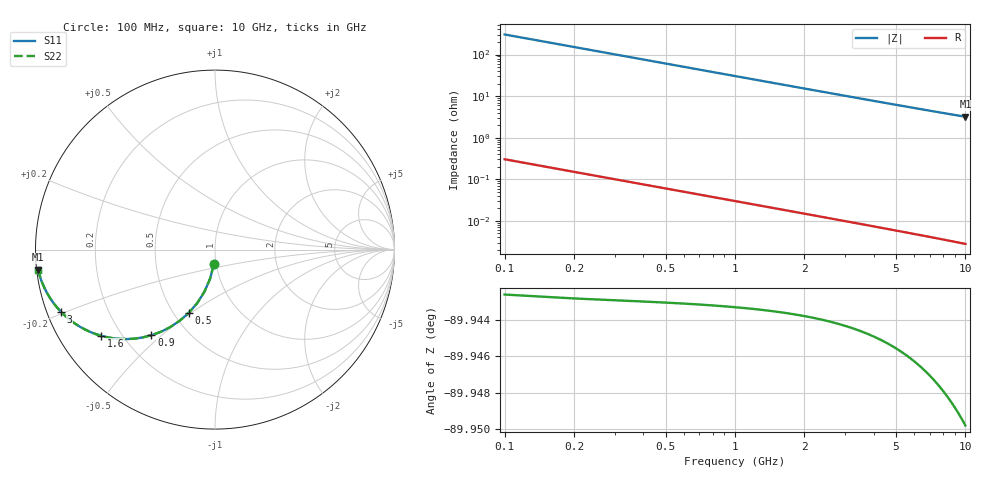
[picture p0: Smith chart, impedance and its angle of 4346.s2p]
# Hz S RI R 50.00
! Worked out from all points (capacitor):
!   100 points, 100 MHz to 10 GHz, reference 50 ohm
!   read as one part in shunt: C = 5.24 pF near 100 MHz
!   lowest |Z| = 3.2 ohm at 10 GHz (marker M1)
!   S11 on the Smith chart (normalised r, x): 100 MHz: 0.97, -0.16; 500 MHz: 0.60, -0.49; 900 MHz: 0.31, -0.46; 1.6 GHz: 0.13, -0.33; 3 GHz: 0.04, -0.19; 10 GHz: 0.00, -0.06
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1e8  -0.00681 -0.0818  0.9932 -0.0819  0.9932 -0.0819  -0.00681 -0.0818
2e8  -0.0266 -0.1602  0.9734 -0.1605  0.9734 -0.1605  -0.0266 -0.1602
3e8  -0.0578 -0.2326  0.9422 -0.233  0.9422 -0.233  -0.0578 -0.2326
4e8  -0.0981 -0.2968  0.9018 -0.2973  0.9018 -0.2973  -0.0981 -0.2968
5e8  -0.1452 -0.3515  0.8548 -0.3522  0.8548 -0.3522  -0.1452 -0.3515
6e8  -0.1964 -0.3964  0.8035 -0.3972  0.8035 -0.3972  -0.1964 -0.3964
7e8  -0.2495 -0.4318  0.7504 -0.4327  0.7504 -0.4327  -0.2495 -0.4318
9e8  -0.3544 -0.4773  0.6455 -0.4784  0.6455 -0.4784  -0.3544 -0.4773
1.2e9  -0.4935 -0.4987  0.5064 -0.5003  0.5064 -0.5003  -0.4935 -0.4987
1.4e9  -0.5699 -0.4937  0.4301 -0.4955  0.4301 -0.4955  -0.5699 -0.4937
1.6e9  -0.6336 -0.4803  0.3664 -0.4824  0.3664 -0.4824  -0.6336 -0.4803
1.8e9  -0.6862 -0.4623  0.3138 -0.4647  0.3138 -0.4647  -0.6862 -0.4623
2e9  -0.7295 -0.4424  0.2705 -0.445  0.2705 -0.445  -0.7295 -0.4424
2.3e9  -0.7808 -0.4117  0.2192 -0.4147  0.2192 -0.4147  -0.7808 -0.4117
2.6e9  -0.8197 -0.3822  0.1803 -0.3857  0.1803 -0.3857  -0.8197 -0.3822
3e9  -0.858 -0.3465  0.1419 -0.3505  0.1419 -0.3505  -0.858 -0.3465
3.4e9  -0.8858 -0.3153  0.1142 -0.3198  0.1142 -0.3198  -0.8858 -0.3153
4.2e9  -0.922 -0.2649  0.078 -0.2705  0.078 -0.2705  -0.922 -0.2649
5.1e9  -0.9457 -0.2227  0.0543 -0.2296  0.0543 -0.2296  -0.9457 -0.2227
6.7e9  -0.9678 -0.1714  0.0321 -0.1805  0.0321 -0.1805  -0.9678 -0.1714
8.4e9  -0.9793 -0.1358  0.0206 -0.1474  0.0206 -0.1474  -0.9793 -0.1358
1e10  -0.9854 -0.1122  0.0145 -0.1262  0.0145 -0.1262  -0.9854 -0.1122
